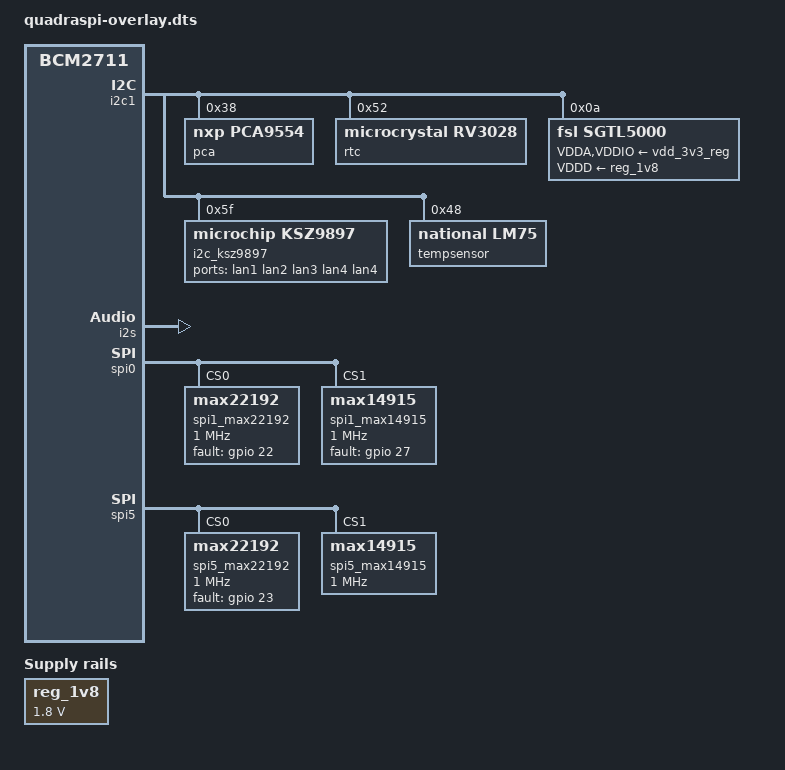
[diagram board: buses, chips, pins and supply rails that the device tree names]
// Device tree overlay for https://kws-computer.de/produkte-2/die-quadras-story/
// for details see ...

/dts-v1/;
/plugin/;

#include <dt-bindings/pinctrl/bcm2835.h>
#include <dt-bindings/clock/bcm2835.h>
#include <dt-bindings/gpio/gpio.h>

/ {
    compatible = "brcm,bcm2711";

    fragment@0 {
        target = <&i2c_arm>;
        __overlay__ {
            status = "activ";
        };
    };

    fragment@1 {
        target = <&gpio>;
        __overlay__ {
            spi1_cs_pins: spi1_cs_pins {
                brcm,pins = <8 7>;
                brcm,function = <1>; /* output */
            };


            spi5_cs_pins: spi5_cs_pins {
                brcm,pins = <12 26>;
                brcm,function = <1>; /* output */
            };

            gpclk2_pin: gpclk2_pin {
                brcm,pins = <6>;
                brcm,function = <4>;
            };

            pcm_pins: pcm_pins {
                brcm,pins = <18 19 20 21>;
                brcm,function = <4 4 4 4>;
            };

            max22192_pins_spi1: max22192_pins_spi1 {
                brcm,pins = <22>;
                brcm,function = <0>; /* in */
                brcm,pull = <0>; /* none */
            };

            max14915_pins_spi1: max14915_pins_spi1 {
                brcm,pins = <27>;
                brcm,function = <0>; /* in */
                brcm,pull = <0>; /* none */
            };

            max22192_pins_spi5: max22192_pins_spi5 {
                brcm,pins = <23>;
                brcm,function = <0>; /* in */
                brcm,pull = <0>; /* none */
            };

            max14915_pins_spi5: max14915_pins_spi5 {
                brcm,pins = <4>;
                brcm,function = <0>; /* in */
                brcm,pull = <0>; /* none */
            };
        };
    };

    fragment@2 {
        target = <&soc>;
        __overlay__ {
            reg_1v8: reg_1v8@0 {
                compatible = "regulator-fixed";
                regulator-name = "1v8";
                regulator-min-microvolt = <1800000>;
                regulator-max-microvolt = <1800000>;
                regulator-always-on;
            };
        };
    };

    fragment@3 {
        target = <&i2c1>;
        __overlay__ {
            #address-cells = <1>;
            #size-cells = <0>;
            status = "okay";

            pca: pca@38 {
                compatible = "nxp,pca9554";
                reg = <0x38>;
                gpio-controller;
                #gpio-cells = <2>;
                status = "okay";

                gpio-line-names = "M2_CFG_0", "M2_CFg_1", "M2_CFG_2", "M2_CFG_3", "M2_Reset", "M2_W_Disable_2", "M2_W_Disable_1", "Full_Card_Power_Off";
            };

            rtc: rv3028@54 {
                compatible = "microcrystal,rv3028";
                reg = <0x52>;
                backup-switchover-mode = <3>;
                trickle-resistor-ohms = <3000>;
            };

            sgtl5000: sgtl5000@a {
                #sound-dai-cells = <0>;
                compatible = "fsl,sgtl5000";
                reg = <0x0a>;

                pinctrl-names = "default";
                pinctrl-0 = <&gpclk2_pin>;
                clocks = <&clocks BCM2835_CLOCK_GP2>;
                clock-names = "mclk";
                assigned-clocks = <&clocks BCM2835_CLOCK_GP2>;
                assigned-clock-rates = <12288000>;

                micbias-resistor-k-ohms = <2>;
                micbias-voltage-m-volts = <3000>;
                VDDA-supply = <&vdd_3v3_reg>;
                VDDIO-supply = <&vdd_3v3_reg>;
                VDDD-supply = <&reg_1v8>;
                status = "okay";
            };

            i2c_ksz9897: ksz9897@5f {
                compatible = "microchip,ksz9897";
                reg = <0x5f>;

                interrupts = <&gpio 5 0>;
                status = "okay";
                ports {
                    #address-cells = <1>;
                    #size-cells = <0>;
                    port@0 {
                        reg = <0>;
                        label = "lan1";
                    };
                    port@1 {
                        reg = <1>;
                        label = "lan2";
                    };
                    port@2 {
                        reg = <2>;
                        label = "lan3";
                    };
                    port@3 {
                        reg = <3>;
                        label = "lan4";
                    };
                    port@4 {
                        reg = <4>;
                        label = "lan4";
                    };
                };
            };

            tempsensor: lm75b@90 {
                compatible = "national,lm75";
                reg = <0x48>;
                status = "okay";
            };
        };
    };

    fragment@4 {
        target = <&i2s>;
        __overlay__ {
            clocks = <&clocks BCM2835_CLOCK_PCM>;
            clock-names = "pcm";

            pinctrl-names = "default";
            pinctrl-0 = <&pcm_pins>;
            status = "okay";
        };
    };

    fragment@5 {
        target = <&sound>;
        __overlay__ {
           compatible = "simple-audio-card";
            i2s-controller = <&i2s>;
            status = "okay";


            simple-audio-card,name = "QuadrasPi SGTL5000";
            simple-audio-card,format = "i2s";

            simple-audio-card,bitclock-master = <&soundmaster>;
            simple-audio-card,frame-master = <&soundmaster>;

            simple-audio-card,widgets =
                "Microphone", "Microphone Jack",
                "Line", "Line In Jack",
                "Headphone", "Headphone Jack",
                "Speaker", "External Speaker";
            simple-audio-card,routing =
                "MIC_IN", "Microphone Jack",
                "LINE_IN", "Line In Jack",
                "Headphone Jack", "HP_OUT",
                "External Speaker", "LINE_OUT";


            dailink0_master: simple-audio-card,cpu {
                sound-dai = <&i2s>;
            };

            soundmaster: simple-audio-card,codec {
                sound-dai = <&sgtl5000>;
                system-clock-frequency = <12288000>;
            };
        };
    };

    fragment@6 {
        target = <&spidev0>;
        __overlay__ {
            status = "disabled";
        };
    };

    fragment@7 {
        target = <&spidev1>;
        __overlay__ {
            status = "disabled";
        };
    };

    fragment@8 {
        target = <&spi0>;
        __overlay__ {
            #address-cells = <1>;
            #size-cells = <0>;

            pinctrl-names = "default";
            status = "okay";

            spi1_max22192: max22192@0 {
                compatible = "max22192";
                pinctrl-names = "default";
                pinctrl-0 = <&max22192_pins_spi1 &spi1_cs_pins>;
                cs-gpios = <&gpio 8 1>, <&gpio 7 1>;
                reg = <0>;      /* CE0 */
                spi-max-frequency = <1000000>;
                gpio-controller;
                #gpio-cells = <2>;
                // wirebreak-inputs = <1>, <2>, <3>, <4>, <5>, <6>, <7> ,<8>;

                fault-gpio = <&gpio 22 0>;
                status = "okay";

                gpio-line-names ="24V_Input_1","24V_Input_2","24V_Input_3","24V_Input_4","24V_Input_5","24V_Input_6","24V_Input_7","24V_Input_8";
            };

            spi1_max14915: max14915@1 {
                compatible = "max14915";
                pinctrl-names = "default";
                pinctrl-0 = <&max14915_pins_spi1>;
                reg = <1>;      /* CE1 */
                spi-max-frequency = <1000000>;
                gpio-controller;
                #gpio-cells = <2>;
                #device-addr = <2>;
                fault-gpio = <&gpio 27 0>;
                // wirebreak-outputs = <1>, <2>, <3>, <4>, <5>, <6>, <7> ,<8>;
                // vdd-outputs = <1>, <2>, <3>, <4>, <5>, <6>, <7> ,<8>;
                vdd-limit = <12>;
                wires_pullup = <300>;
                status = "okay";

                gpio-line-names ="24V_Output_1","24V_Output_2","24V_Output_3","24V_Output_4","24V_Output_5","24V_Output_6","24V_Output_7","24V_Output_8";
            };
        };
    };

    fragment@9 {
        target = <&spi5>;
        __overlay__ {
            #address-cells = <1>;
            #size-cells = <0>;
            status = "okay";

            spi5_max22192: max22192@0 {
                compatible = "max22192";
                pinctrl-names = "default";
                pinctrl-0 = <&max22192_pins_spi5>;
                reg = <0>;      /* CE0 */
                #address-cells = <1>;
                #size-cells = <0>;
                spi-max-frequency = <1000000>;
                gpio-controller;
                #gpio-cells = <2>;
                // wirebreak-inputs = <1>, <2>, <3>, <4>, <5>, <6>, <7> ,<8>;

                fault-gpio = <&gpio 23 0>;
                status = "okay";

                gpio-line-names ="24V_Input_9","24V_Input_10","24V_Input_11","24V_Input_12","24V_Input_13","24V_Input_14","24V_Input_15","24V_Input_16";
            };

            spi5_max14915: max14915@1 {
                compatible = "max14915";
                pinctrl-names = "default";
                pinctrl-0 = <&max14915_pins_spi5>;
                reg = <1>;      /* CE1 */
                #address-cells = <1>;
                #size-cells = <0>;
                spi-max-frequency = <1000000>;
                gpio-controller;
                #gpio-cells = <2>;
                #device-addr = <2>;
                //fault-gpio = <&gpio 4 0>;
                // wirebreak-outputs = <1>, <2>, <3>, <4>, <5>, <6>, <7> ,<8>;
                // vdd-outputs = <1>, <2>, <3>, <4>, <5>, <6>, <7> ,<8>;
                vdd-limit = <12>;
                wires_pullup = <300>;
                status = "okay";

                gpio-line-names ="24V_Output_9","24V_Output_10","24V_Output_11","24V_Output_12","24V_Output_13","24V_Output_14","24V_Output_15","24V_Output_16";
            };
        };
    };
};
